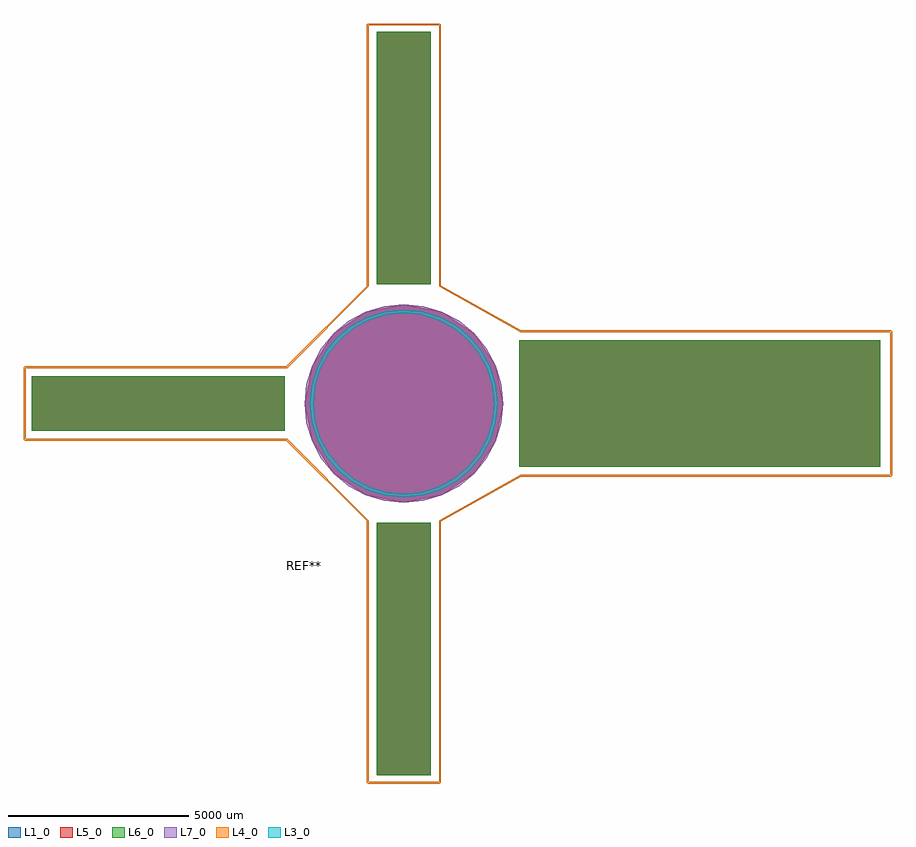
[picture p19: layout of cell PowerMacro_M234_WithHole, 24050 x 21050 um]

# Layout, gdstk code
import gdstk
lib = gdstk.Library(unit=1e-6, precision=1e-09)
def R(c, l, rs):  # rectangles x0, y0, x1, y1
    for r in rs: c.add(gdstk.rectangle(r[:2], r[2:], *l))
def P(c, l, *ps):  # polygons
    for p in ps: c.add(gdstk.Polygon(p, *l))
L1_0 = (1, 0)
L3_0 = (3, 0)
L4_0 = (4, 0)
L5_0 = (5, 0)
L6_0 = (6, 0)
L7_0 = (7, 0)

powermacro_m234_withhole = lib.new_cell('PowerMacro_M234_WithHole')
R(powermacro_m234_withhole, L1_0, [(-1450,-10300,50,-3300), (2500,-1750,12500,1750), (-11000,-750,-4000,750), (-1450,3300,50,10300)])
P(powermacro_m234_withhole, L1_0, [(-700,2750),(-1752,2541),(-2645,1945),(-3241,1052),(-3450,0),(-3241,-1052),(-2645,-1945),(-1752,-2541),(-700,-2750),(352,-2541),(1245,-1945),(1841,-1052),(2050,0),(1841,1052),(1245,1945),(352,2541)])
R(powermacro_m234_withhole, L5_0, [(-1450,-10300,50,-3300), (2500,-1750,12500,1750), (-11000,-750,-4000,750), (-1450,3300,50,10300)])
P(powermacro_m234_withhole, L5_0, [(-700,2750),(-1752,2541),(-2645,1945),(-3241,1052),(-3450,0),(-3241,-1052),(-2645,-1945),(-1752,-2541),(-700,-2750),(352,-2541),(1245,-1945),(1841,-1052),(2050,0),(1841,1052),(1245,1945),(352,2541)])
R(powermacro_m234_withhole, L6_0, [(-1450,-10300,50,-3300), (2500,-1750,12500,1750), (-11000,-750,-4000,750), (-1450,3300,50,10300)])
P(powermacro_m234_withhole, L7_0, [(2050,0),(1997,536),(1841,1052),(1587,1528),(1245,1945),(828,2287),(352,2541),(-164,2697),(-700,2750),(-1236,2697),(-1752,2541),(-2228,2287),(-2645,1945),(-2987,1528),(-3241,1052),(-3397,536),(-3450,0),(-3397,-536),(-3241,-1052),(-2987,-1528),(-2645,-1945),(-2228,-2287),(-1752,-2541),(-1236,-2697),(-700,-2750),(-164,-2697),(352,-2541),(828,-2287),(1245,-1945),(1587,-1528),(1841,-1052),(1997,-536)])
powermacro_m234_withhole.add(gdstk.FlexPath([(-11200,1000),(-3950,1000)], 50, ends="flush", simple_path=True, layer=4, datatype=0))  # L4_0
powermacro_m234_withhole.add(gdstk.FlexPath([(-3950,1000),(-1700,3250)], 50, ends="flush", simple_path=True, layer=4, datatype=0))  # L4_0
powermacro_m234_withhole.add(gdstk.FlexPath([(-1700,3250),(-1700,10500)], 50, ends="flush", simple_path=True, layer=4, datatype=0))  # L4_0
powermacro_m234_withhole.add(gdstk.FlexPath([(-1700,10500),(300,10500)], 50, ends="flush", simple_path=True, layer=4, datatype=0))  # L4_0
powermacro_m234_withhole.add(gdstk.FlexPath([(300,10500),(300,3250)], 50, ends="flush", simple_path=True, layer=4, datatype=0))  # L4_0
powermacro_m234_withhole.add(gdstk.FlexPath([(300,3250),(2550,2000)], 50, ends="flush", simple_path=True, layer=4, datatype=0))  # L4_0
powermacro_m234_withhole.add(gdstk.FlexPath([(2550,2000),(12800,2000)], 50, ends="flush", simple_path=True, layer=4, datatype=0))  # L4_0
powermacro_m234_withhole.add(gdstk.FlexPath([(12800,2000),(12800,-2000)], 50, ends="flush", simple_path=True, layer=4, datatype=0))  # L4_0
powermacro_m234_withhole.add(gdstk.FlexPath([(12800,-2000),(2550,-2000)], 50, ends="flush", simple_path=True, layer=4, datatype=0))  # L4_0
powermacro_m234_withhole.add(gdstk.FlexPath([(2550,-2000),(300,-3250)], 50, ends="flush", simple_path=True, layer=4, datatype=0))  # L4_0
powermacro_m234_withhole.add(gdstk.FlexPath([(300,-3250),(300,-10500)], 50, ends="flush", simple_path=True, layer=4, datatype=0))  # L4_0
powermacro_m234_withhole.add(gdstk.FlexPath([(300,-10500),(-1700,-10500)], 50, ends="flush", simple_path=True, layer=4, datatype=0))  # L4_0
powermacro_m234_withhole.add(gdstk.FlexPath([(-1700,-10500),(-1700,-3250)], 50, ends="flush", simple_path=True, layer=4, datatype=0))  # L4_0
powermacro_m234_withhole.add(gdstk.FlexPath([(-1700,-3250),(-3950,-1000)], 50, ends="flush", simple_path=True, layer=4, datatype=0))  # L4_0
powermacro_m234_withhole.add(gdstk.FlexPath([(-3950,-1000),(-11200,-1000)], 50, ends="flush", simple_path=True, layer=4, datatype=0))  # L4_0
powermacro_m234_withhole.add(gdstk.FlexPath([(-11200,-1000),(-11200,1000)], 50, ends="flush", simple_path=True, layer=4, datatype=0))  # L4_0
powermacro_m234_withhole.add(gdstk.FlexPath([(1850,0),(1801,497),(1656,976),(1420,1417),(1103,1803),(717,2120),(276,2356),(-203,2501),(-700,2550),(-1197,2501),(-1676,2356),(-2117,2120),(-2503,1803),(-2820,1417),(-3056,976),(-3201,497),(-3250,0),(-3201,-497),(-3056,-976),(-2820,-1417),(-2503,-1803),(-2117,-2120),(-1676,-2356),(-1197,-2501),(-700,-2550),(-203,-2501),(276,-2356),(717,-2120),(1103,-1803),(1420,-1417),(1656,-976),(1801,-497),(1850,0)], 100, ends="flush", simple_path=True, layer=3, datatype=0))  # L3_0
powermacro_m234_withhole.add(gdstk.Label('REF**', (-3450,-4500), layer=2, texttype=0))
powermacro_m234_withhole.add(gdstk.Label('PowerMacro_M234_WithHole', (13750,0), layer=3, texttype=0))
powermacro_m234_withhole.add(gdstk.Label('%R', (-3450,-4500), layer=3, texttype=0))

lib.write_gds('PowerMacro_M234_WithHole.gds')
